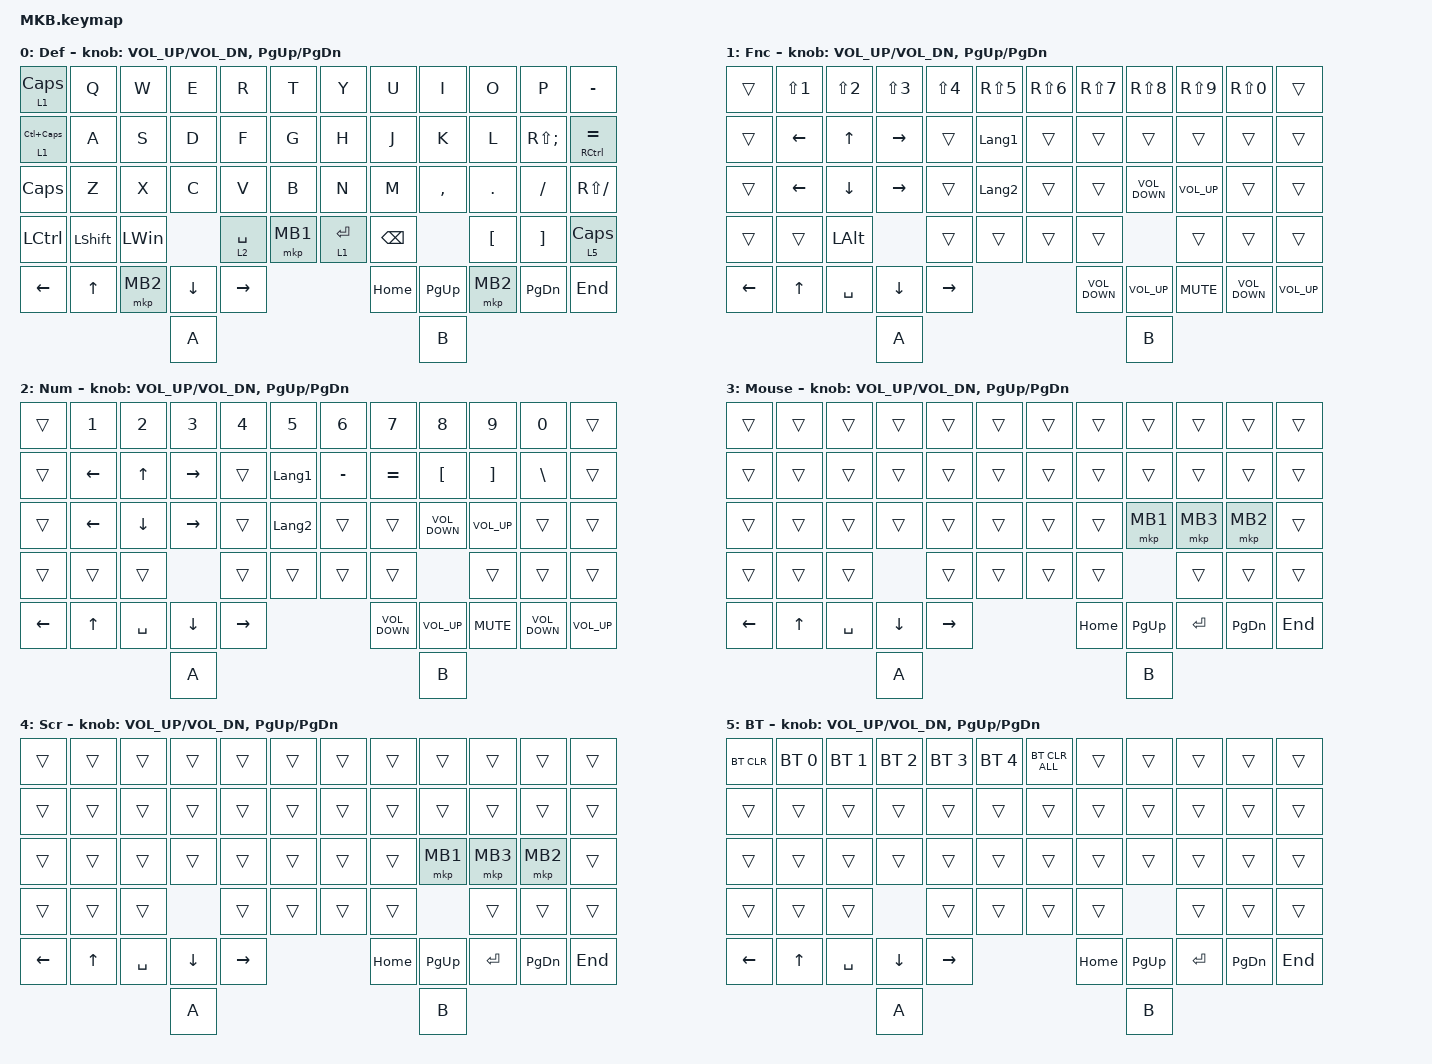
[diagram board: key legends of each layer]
// #include <layout_shift.dtsi>

#include <layout_shift_kp_override.dtsi>
#include <behaviors.dtsi>
#include <dt-bindings/zmk/bt.h>
#include <dt-bindings/zmk/keys.h>
#include <dt-bindings/zmk/pointing.h>

#define DEF 0
#define FUNC 1
#define NUM 2
#define MOUSE 3
#define SCROLL 4
#define BT 5

&mt {
    flavor = "balanced";
    tapping-term-ms = <280>;
    quick-tap-ms = <175>;
    require-prior-idle-ms = <150>;
};

/ {
    keymap {
        compatible = "zmk,keymap";

        default_layer {
            label = "Def";
            bindings = <
&lt 1 CAPS        &kp Q           &kp W         &kp E           &kp R            &kp T         &kp Y        &kp U          &kp I      &kp O             &kp P              &kp MINUS
&lt 1 LC(CLCK)    &kp A           &kp S         &kp D           &kp F            &kp G         &kp H        &kp J          &kp K      &kp L             &kp RS(SEMI)       &mt RIGHT_CONTROL EQUAL
&kp CLCK          &kp Z           &kp X         &kp C           &kp V            &kp B         &kp N        &kp M          &kp COMMA  &kp DOT           &kp SLASH          &kp RS(FSLH)
&kp LEFT_CONTROL  &kp LEFT_SHIFT  &kp LEFT_WIN                  &lt 2 SPACE      &mkp MB1      &lt 1 ENTER  &kp BACKSPACE             &kp LEFT_BRACKET  &kp RIGHT_BRACKET  &lt 5 CLCK
&kp LEFT_ARROW    &kp UP_ARROW    &mkp MB2      &kp DOWN_ARROW  &kp RIGHT_ARROW                             &kp HOME       &kp PG_UP  &mkp MB2          &kp PAGE_DOWN      &kp END
                                                &kp A                                                                      &kp B
            >;

            sensor-bindings = <&inc_dec_kp C_VOL_UP C_VOL_DN &inc_dec_kp PG_UP PG_DN>;
        };

        function_layer {
            label = "Fnc";
            bindings = <
&trans    &kp LS(NUMBER_1)  &kp LS(NUMBER_2)  &kp LS(NUMBER_3)  &kp LS(NUMBER_4)  &kp RS(N5)          &kp RS(NUMBER_6)  &kp RS(N7)         &kp RS(N8)         &kp RS(N9)       &kp RS(N0)         &trans
&trans    &kp LEFT_ARROW    &kp UP_ARROW      &kp RIGHT         &trans            &kp LANGUAGE_1      &trans            &trans             &trans             &trans           &trans             &trans
&trans    &kp LEFT          &kp DOWN          &kp RIGHT         &trans            &kp LANGUAGE_2      &trans            &trans             &kp C_VOLUME_DOWN  &kp C_VOLUME_UP  &trans             &trans
&trans    &trans            &kp LALT                            &trans            &trans              &trans            &trans                                &trans           &trans             &trans
&kp LEFT  &kp UP            &kp SPACE         &kp DOWN          &kp RIGHT                                               &kp C_VOLUME_DOWN  &kp K_VOLUME_UP    &kp K_MUTE       &kp C_VOLUME_DOWN  &kp C_VOLUME_UP
                                              &kp A                                                                                        &kp B
            >;

            sensor-bindings = <&inc_dec_kp C_VOL_UP C_VOL_DN &inc_dec_kp PG_UP PG_DN>;
        };

        num_layer {
            label = "Num";
            bindings = <
&trans    &kp NUMBER_1    &kp NUMBER_2  &kp NUMBER_3     &kp NUMBER_4  &kp N5              &kp N6     &kp N7             &kp N8             &kp N9        &kp N0             &trans
&trans    &kp LEFT_ARROW  &kp UP_ARROW  &kp RIGHT_ARROW  &trans        &kp LANGUAGE_1      &kp MINUS  &kp EQUAL          &kp LBKT           &kp RBKT      &kp BSLH           &trans
&trans    &kp LEFT_ARROW  &kp DOWN      &kp RIGHT        &trans        &kp LANGUAGE_2      &trans     &trans             &kp C_VOLUME_DOWN  &kp C_VOL_UP  &trans             &trans
&trans    &trans          &trans                         &trans        &trans              &trans     &trans                                &trans        &trans             &trans
&kp LEFT  &kp UP          &kp SPACE     &kp DOWN         &kp RIGHT                                    &kp C_VOLUME_DOWN  &kp K_VOLUME_UP    &kp K_MUTE    &kp C_VOLUME_DOWN  &kp C_VOLUME_UP
                                        &kp A                                                                            &kp B
            >;

            sensor-bindings = <&inc_dec_kp C_VOL_UP C_VOL_DN &inc_dec_kp PG_UP PG_DN>;
        };

        mouse_layer {
            label = "Mouse";
            bindings = <
&trans    &trans  &trans     &trans    &trans     &trans      &trans  &trans    &trans     &trans     &trans     &trans
&trans    &trans  &trans     &trans    &trans     &trans      &trans  &trans    &trans     &trans     &trans     &trans
&trans    &trans  &trans     &trans    &trans     &trans      &trans  &trans    &mkp MB1   &mkp MB3   &mkp MB2   &trans
&trans    &trans  &trans               &trans     &trans      &trans  &trans               &trans     &trans     &trans
&kp LEFT  &kp UP  &kp SPACE  &kp DOWN  &kp RIGHT                      &kp HOME  &kp PG_UP  &kp ENTER  &kp PG_DN  &kp END
                             &kp A                                              &kp B
            >;

            sensor-bindings = <&inc_dec_kp C_VOL_UP C_VOL_DN &inc_dec_kp PG_UP PG_DN>;
        };

        scroll_layer {
            label = "Scr";
            bindings = <
&trans    &trans  &trans     &trans    &trans     &trans      &trans  &trans    &trans     &trans     &trans     &trans
&trans    &trans  &trans     &trans    &trans     &trans      &trans  &trans    &trans     &trans     &trans     &trans
&trans    &trans  &trans     &trans    &trans     &trans      &trans  &trans    &mkp MB1   &mkp MB3   &mkp MB2   &trans
&trans    &trans  &trans               &trans     &trans      &trans  &trans               &trans     &trans     &trans
&kp LEFT  &kp UP  &kp SPACE  &kp DOWN  &kp RIGHT                      &kp HOME  &kp PG_UP  &kp ENTER  &kp PG_DN  &kp END
                             &kp A                                              &kp B
            >;

            sensor-bindings = <&inc_dec_kp C_VOL_UP C_VOL_DN &inc_dec_kp PG_UP PG_DN>;
        };

        bt_layer {
            label = "BT";
            bindings = <
&bt BT_CLR  &bt BT_SEL 0  &bt BT_SEL 1  &bt BT_SEL 2  &bt BT_SEL 3  &bt BT_SEL 4      &bt BT_CLR_ALL  &trans    &trans     &trans     &trans     &trans
&trans      &trans        &trans        &trans        &trans        &trans            &trans          &trans    &trans     &trans     &trans     &trans
&trans      &trans        &trans        &trans        &trans        &trans            &trans          &trans    &trans     &trans     &trans     &trans
&trans      &trans        &trans                      &trans        &trans            &trans          &trans               &trans     &trans     &trans
&kp LEFT    &kp UP        &kp SPACE     &kp DOWN      &kp RIGHT                                       &kp HOME  &kp PG_UP  &kp ENTER  &kp PG_DN  &kp END
                                        &kp A                                                                   &kp B
            >;

            sensor-bindings = <&inc_dec_kp C_VOL_UP C_VOL_DN &inc_dec_kp PG_UP PG_DN>;
        };
    };
};
